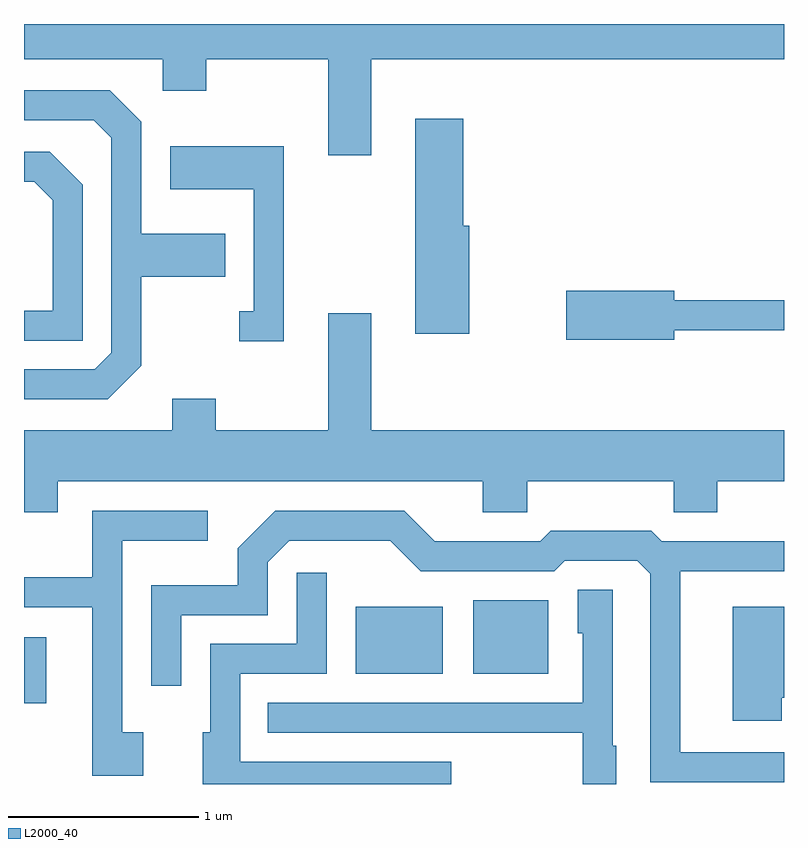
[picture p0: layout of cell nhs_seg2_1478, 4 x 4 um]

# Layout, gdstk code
import gdstk
lib = gdstk.Library(unit=1e-6, precision=1e-09)
def R(c, l, rs):  # rectangles x0, y0, x1, y1
    for r in rs: c.add(gdstk.rectangle(r[:2], r[2:], *l))
def P(c, l, *ps):  # polygons
    for p in ps: c.add(gdstk.Polygon(p, *l))
L2000_40 = (2000, 40)

nhs_seg2_1478 = lib.new_cell('nhs_seg2_1478')
R(nhs_seg2_1478, L2000_40, [(227.611,1078.226,227.729,1078.574), (229.356,1078.381,229.814,1078.734), (229.976,1078.381,230.369,1078.769)])
P(nhs_seg2_1478, L2000_40, [(229.439,1081.616),(231.611,1081.616),(231.611,1081.802),(227.611,1081.802),(227.611,1081.616),(228.341,1081.616),(228.341,1081.451),(228.569,1081.451),(228.569,1081.616),(229.211,1081.616),(229.211,1081.111),(229.439,1081.111)],
  [(228.229,1080.004),(228.229,1080.471),(228.669,1080.471),(228.669,1080.699),(228.229,1080.699),(228.229,1081.287),(228.062,1081.454),(227.611,1081.454),(227.611,1081.296),(227.979,1081.296),(228.071,1081.204),(228.071,1080.072),(227.984,1079.984),(227.611,1079.984),(227.611,1079.826),(228.052,1079.826)],
  [(229.954,1080.739),(229.924,1080.739),(229.924,1081.304),(229.671,1081.304),(229.671,1080.171),(229.954,1080.171)],
  [(228.979,1081.159),(228.381,1081.159),(228.381,1080.931),(228.821,1080.931),(228.821,1080.289),(228.743,1080.289),(228.743,1080.131),(228.979,1080.131)],
  [(227.919,1080.957),(227.747,1081.129),(227.611,1081.129),(227.611,1080.971),(227.664,1080.971),(227.761,1080.874),(227.761,1080.294),(227.611,1080.294),(227.611,1080.136),(227.919,1080.136)],
  [(231.034,1080.191),(231.611,1080.191),(231.611,1080.349),(231.034,1080.349),(231.034,1080.399),(230.466,1080.399),(230.466,1080.141),(231.034,1080.141)],
  [(227.789,1079.396),(230.026,1079.396),(230.026,1079.231),(230.259,1079.231),(230.259,1079.396),(231.031,1079.396),(231.031,1079.231),(231.259,1079.231),(231.259,1079.396),(231.611,1079.396),(231.611,1079.664),(229.439,1079.664),(229.439,1080.279),(229.211,1080.279),(229.211,1079.664),(228.619,1079.664),(228.619,1079.829),(228.391,1079.829),(228.391,1079.664),(227.611,1079.664),(227.611,1079.231),(227.789,1079.231)],
  [(228.239,1078.074),(228.129,1078.074),(228.129,1079.081),(228.578,1079.081),(228.578,1079.239),(227.971,1079.239),(227.971,1078.889),(227.611,1078.889),(227.611,1078.731),(227.971,1078.731),(227.971,1077.846),(228.239,1077.846)],
  [(231.611,1077.969),(231.064,1077.969),(231.064,1078.921),(231.611,1078.921),(231.611,1079.079),(230.967,1079.079),(230.912,1079.134),(230.384,1079.134),(230.329,1079.079),(229.772,1079.079),(229.612,1079.239),(228.934,1079.239),(228.736,1079.042),(228.736,1078.849),(228.281,1078.849),(228.281,1078.318),(228.439,1078.318),(228.439,1078.691),(228.894,1078.691),(228.894,1078.969),(229.007,1079.081),(229.539,1079.081),(229.699,1078.921),(230.402,1078.921),(230.457,1078.976),(230.839,1078.976),(230.906,1078.909),(230.906,1077.811),(231.611,1077.811)],
  [(229.859,1077.919),(228.749,1077.919),(228.749,1078.381),(229.204,1078.381),(229.204,1078.913),(229.046,1078.913),(229.046,1078.539),(228.591,1078.539),(228.591,1078.074),(228.551,1078.074),(228.551,1077.802),(229.859,1077.802)],
  [(230.729,1078.004),(230.709,1078.004),(230.709,1078.824),(230.526,1078.824),(230.526,1078.596),(230.551,1078.596),(230.551,1078.229),(228.893,1078.229),(228.893,1078.071),(230.551,1078.071),(230.551,1077.802),(230.729,1077.802)],
  [(231.599,1078.256),(231.611,1078.256),(231.611,1078.734),(231.341,1078.734),(231.341,1078.136),(231.599,1078.136)])

lib.write_gds('nhs_seg2_1478.gds')
